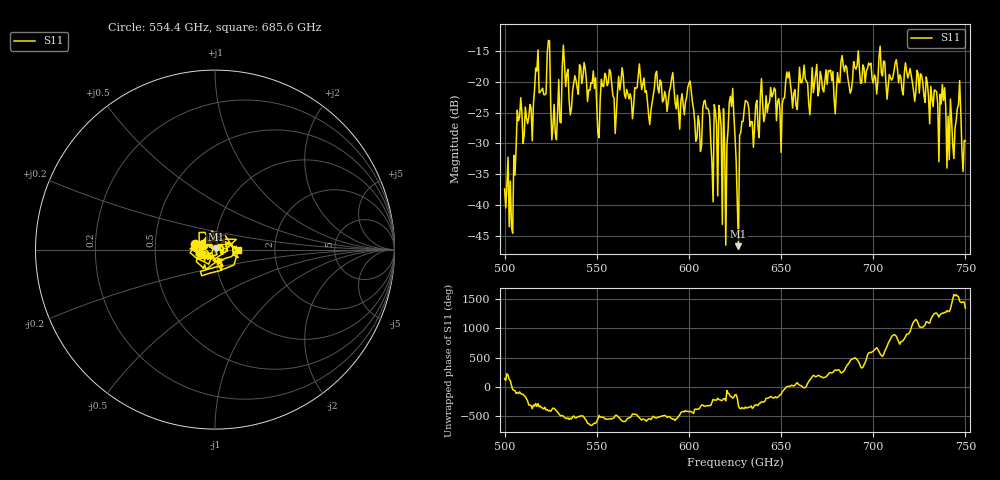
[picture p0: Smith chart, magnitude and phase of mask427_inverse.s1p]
!Created with skrf (http://scikit-rf.org).
# GHz S MA R 50.0
!freq magS11 angS11
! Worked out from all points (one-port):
!   401 points, 500 GHz to 750 GHz, reference 50 ohm
!   lowest |S11| = -46.7 dB at 626.9 GHz (marker M1), VSWR 1.01, Z = 50.4 + j0.217 ohm
!   |S11| at or under -10 dB: start of sweep to end of sweep
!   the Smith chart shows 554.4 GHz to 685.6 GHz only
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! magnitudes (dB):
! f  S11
! 500 GHz  -37.4
! 503.8 GHz  -43.6
! 508.1 GHz  -25.7
! 513.8 GHz  -23.7
! 517.5 GHz  -18.3
! 523.8 GHz  -13.3
! 526.9 GHz  -23.7
! 531.2 GHz  -17.6
! 542.5 GHz  -19.1
! 551.2 GHz  -29.1
! 562.5 GHz  -21.3
! 593.8 GHz  -22.2
! 600.6 GHz  -19.9
! 605.6 GHz  -26.8
! 609.4 GHz  -24.3
! 619.4 GHz  -30.3
! 622.5 GHz  -22.4
! 625 GHz  -28.7
! 626.9 GHz  -46.7
! 631.2 GHz  -23.2
! 634.4 GHz  -26.5
! 656.2 GHz  -24.3
! 687.5 GHz  -21.9
! 718.8 GHz  -19.4
! 737.5 GHz  -20.4
! 742.5 GHz  -26.1
! 746.2 GHz  -23.7
! 750 GHz  -29.6
